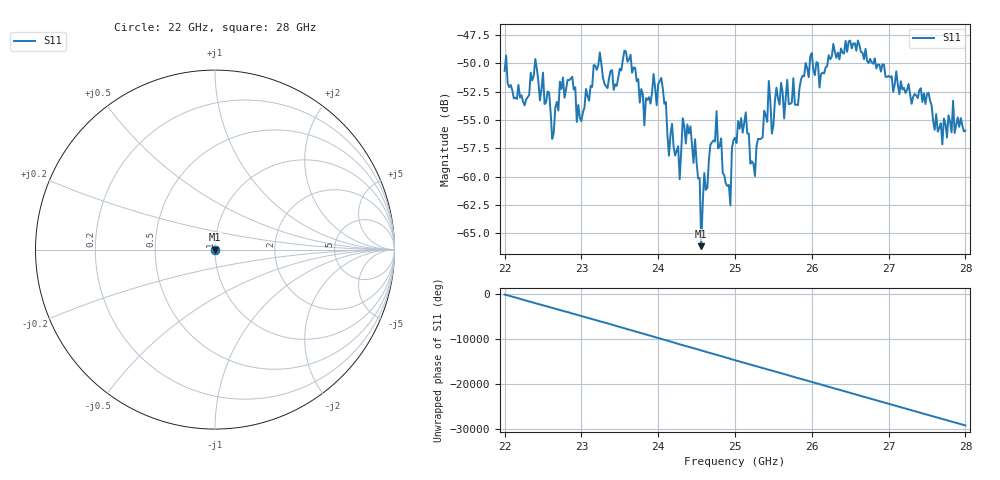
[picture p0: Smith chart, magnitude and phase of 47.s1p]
#  HZ  S  RI  R  50.00
! Rohde & Schwarz ZVA40 4Ports - Version 3.90 - 1145.1110k42 SN: 100403
! Date: 2023-10-04 07:36:27
! Measurement: S12
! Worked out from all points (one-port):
!   301 points, 22 GHz to 28 GHz, reference 50 ohm
!   lowest |S11| = -66.1 dB at 24.56 GHz (marker M1), VSWR 1.00, Z = 50 + j0.0469 ohm
!   |S11| at or under -10 dB: start of sweep to end of sweep
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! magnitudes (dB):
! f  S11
! 22 GHz  -50.7
! 22.26 GHz  -53.7
! 22.4 GHz  -49.6
! 22.62 GHz  -56.7
! 22.76 GHz  -51.3
! 22.94 GHz  -55.2
! 23.24 GHz  -49.0
! 23.5 GHz  -50.5
! 23.64 GHz  -49.2
! 23.82 GHz  -55.5
! 24.04 GHz  -51.3
! 24.14 GHz  -58.2
! 24.26 GHz  -57.3
! 24.48 GHz  -56.7
! 24.54 GHz  -60.1
! 24.56 GHz  -66.1
! 24.6 GHz  -59.7
! 24.76 GHz  -54.2
! 24.94 GHz  -62.5
! 25 GHz  -56.6
! 25.14 GHz  -54.3
! 25.26 GHz  -60.0
! 25.44 GHz  -51.6
! 25.48 GHz  -56.2
! 25.76 GHz  -51.3
! 26.5 GHz  -48.0
! 27.26 GHz  -51.8
! 28 GHz  -55.9
